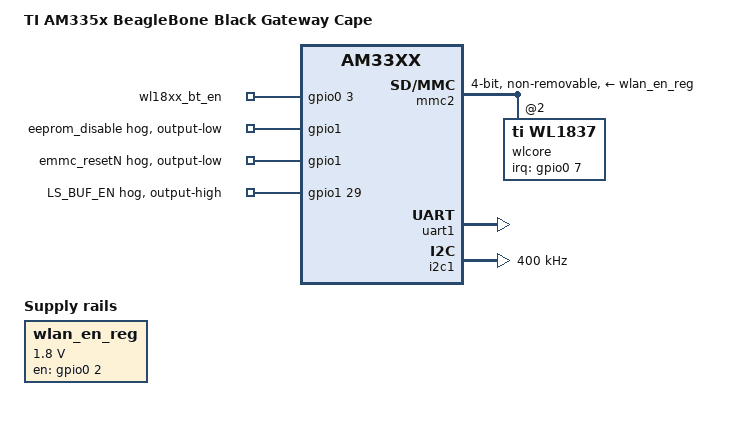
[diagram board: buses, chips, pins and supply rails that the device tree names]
/*
 * Copyright (C) 2012 Texas Instruments Incorporated - http://www.ti.com/
 *
 * This program is free software; you can redistribute it and/or modify
 * it under the terms of the GNU General Public License version 2 as
 * published by the Free Software Foundation.
 */
/dts-v1/;
/plugin/;

#include <dt-bindings/gpio/gpio.h>
#include <dt-bindings/pinctrl/am33xx.h>
#include <dt-bindings/interrupt-controller/irq.h>

/ {
	compatible = "ti,beaglebone", "ti,beaglebone-black";

	/* identification */
	part-number = "BB-GATEWAY-WL1837";
	version = "00A0";

	/* state the resources this cape uses */
	exclusive-use =
		/* the pin header uses */
		"P8.25",	/* sdio: data0 */
		"P8.24",	/* sdio: data1 */
		"P8.5",		/* sdio: data2 */
		"P8.6",		/* sdio: data3 */
		"P8.21",	/* sdio: clk */
		"P8.20",	/* sdio: cmd */
		"P9.19",	/* uart1: rtsn */
		"P9.20",	/* uart1: ctsn */
		"P9.26",	/* uart1: rxd */
		"P9.24",	/* uart1: txd */
		"P9.17",	/* i2c1 */
		"P9.18",	/* i2c1 */

		"gpio0_2",	/* WL_EN */
		"gpio0_7",	/* WL_IRQ */
		"gpio0_3",	/* BT_EN */
		"gpio1_29",	/* BUF_ENABLE */
		"gpio2_2", 	/* Audio_sync */
		"gpio1_20",	/* EMMC ResetN */
		"gpio1_16",	/* EEPROM Enable */

		/* the hardware ip uses */
		"mmc2",
		"uart1",
		"i2c1";

	fragment@0 {
		target-path="/";
		__overlay__ {
			model = "TI AM335x BeagleBone Black Gateway Cape";
			compatible = "ti,am335x-bone-black", "ti,am335x-bone", "ti,am33xx";

			wlan_en_reg: fixedregulator@2 {
				compatible = "regulator-fixed";
				regulator-name = "wlan-en-regulator";
				regulator-min-microvolt = <1800000>;
				regulator-max-microvolt = <1800000>;
				startup-delay-us= <70000>;

				/* WL_EN */
				gpio = <&gpio0 2 0>;
				enable-active-high;
			};

			leds {
				pinctrl-names = "default";
				pinctrl-0 = <&wl18xx_pins>;
				compatible = "gpio-leds";

				wl18xx_bt_en {
					label = "wl18xx_bt_en";
					gpios = <&gpio0 3 GPIO_ACTIVE_HIGH>;
					default-state = "off";
				};
			};
		};
	};

	fragment@1 {
		target = <&am33xx_pinmux>;
		__overlay__ {
			wl18xx_pins: pinmux_wl18xx_pins {
				pinctrl-single,pins = <
					AM33XX_IOPAD(0x954, PIN_OUTPUT_PULLUP | MUX_MODE7)	/* gpio0_3 BT_EN */
				>;
			};

			wlbtbuf_pin: pinmux_wlbtbuf_pin {
				pinctrl-single,pins = <
					AM33XX_IOPAD(0x87C, PIN_OUTPUT_PULLUP | MUX_MODE7)	/* gpmc_csn0.gpio1_29 LS_BUF_EN */
				>;
			};

			btbuf_pin: pinmux_btbuf_pin {
				pinctrl-single,pins = <
					AM33XX_IOPAD(0x840, PIN_OUTPUT_PULLDOWN | MUX_MODE7)	/* EEPROM Disable */
				>;
			};

			mmc2_pins: pinmux_mmc2_pins {
				pinctrl-single,pins = <
					AM33XX_IOPAD(0x880, PIN_INPUT_PULLUP | MUX_MODE2) /* gpmc_csn1.mmc1_clk */
					AM33XX_IOPAD(0x884, PIN_INPUT_PULLUP | MUX_MODE2) /* gpmc_csn2.mmc1_cmd */
					AM33XX_IOPAD(0x800, PIN_INPUT_PULLUP | MUX_MODE1) /* gpmc_ad0.mmc1_dat0 */
					AM33XX_IOPAD(0x804, PIN_INPUT_PULLUP | MUX_MODE1) /* gpmc_ad1.mmc1_dat1 */
					AM33XX_IOPAD(0x808, PIN_INPUT_PULLUP | MUX_MODE1) /* gpmc_ad2.mmc1_dat2 */
					AM33XX_IOPAD(0x80c, PIN_INPUT_PULLUP | MUX_MODE1) /* gpmc_ad3.mmc1_dat3 */
				>;
			};

			mmc2_pins_sleep: pinmux_mmc2_pins_sleep {
				pinctrl-single,pins = <
					AM33XX_IOPAD(0x880, PIN_INPUT_PULLDOWN | MUX_MODE2) /* gpmc_csn1.mmc1_clk */
					AM33XX_IOPAD(0x884, PIN_INPUT_PULLDOWN | MUX_MODE2) /* gpmc_csn2.mmc1_cmd */
					AM33XX_IOPAD(0x800, PIN_INPUT_PULLDOWN | MUX_MODE1) /* gpmc_ad0.mmc1_dat0 */
					AM33XX_IOPAD(0x804, PIN_INPUT_PULLDOWN | MUX_MODE1) /* gpmc_ad1.mmc1_dat1 */
					AM33XX_IOPAD(0x808, PIN_INPUT_PULLDOWN | MUX_MODE1) /* gpmc_ad2.mmc1_dat2 */
					AM33XX_IOPAD(0x80c, PIN_INPUT_PULLDOWN | MUX_MODE1) /* gpmc_ad3.mmc1_dat3 */
				>;
			};

			/* wl18xx card enable/irq GPIOs. */
			wlan_pins: pinmux_wlan_pins {
				pinctrl-single,pins = <
					AM33XX_IOPAD(0x814, PIN_OUTPUT_PULLUP | MUX_MODE7)	/* gpio0_2 WL_EN */
					AM33XX_IOPAD(0x964, PIN_INPUT_PULLUP | MUX_MODE7)	/* gpio0_7 WL_IRQ */
					AM33XX_IOPAD(0x890, PIN_OUTPUT_PULLDOWN | MUX_MODE7)	/* gpmc_advn_ale.gpio2_2 Audio_sync */
				>;
			};

			/* wl18xx card enable/irq GPIOs. */
			wlan_pins_sleep: pinmux_wlan_pins_sleep {
				pinctrl-single,pins = <
					AM33XX_IOPAD(0x814, PIN_OUTPUT_PULLUP | MUX_MODE7)	/* gpio0_2 WL_EN */
					AM33XX_IOPAD(0x964, PIN_INPUT_PULLUP | MUX_MODE7)	/* gpio0_7 WL_IRQ */
					AM33XX_IOPAD(0x890, PIN_OUTPUT_PULLDOWN | MUX_MODE7)	/* gpmc_advn_ale.gpio2_2 Audio_sync */
				>;
			};

			uart1_pins_default: pinmux_uart1_pins_default {
				pinctrl-single,pins = <
					AM33XX_IOPAD(0x980, PIN_INPUT_PULLUP | MUX_MODE0)	/* (D16) uart1_rxd.uart1_rxd */
					AM33XX_IOPAD(0x984, PIN_OUTPUT_PULLDOWN | MUX_MODE0)	/* (D15) uart1_txd.uart1_txd */
					AM33XX_IOPAD(0x978, PIN_INPUT | MUX_MODE0)		/* (D18) uart1_ctsn.uart1_ctsn */
					AM33XX_IOPAD(0x97c, PIN_OUTPUT_PULLDOWN | MUX_MODE0)	/* (D17) uart1_rtsn.uart1_rtsn */
				>;
			};

			uart1_pins_sleep: pinmux_uart1_pins_sleep {
				pinctrl-single,pins = <
					AM33XX_IOPAD(0x980, PIN_INPUT_PULLDOWN | MUX_MODE7)	/* (D16) uart1_rxd.uart1_rxd */
					AM33XX_IOPAD(0x984, PIN_INPUT_PULLDOWN | MUX_MODE7)	/* (D15) uart1_txd.uart1_txd */
					AM33XX_IOPAD(0x978, PIN_INPUT_PULLDOWN | MUX_MODE7)	/* (D18) uart1_ctsn.uart1_ctsn */
					AM33XX_IOPAD(0x97c, PIN_INPUT_PULLDOWN | MUX_MODE7)	/* (D17) uart1_rtsn.uart1_rtsn */
				>;
			};

			bb_i2c1_pins: pinmux_bb_i2c1_pins {
				pinctrl-single,pins = <
					AM33XX_IOPAD(0x95c, PIN_INPUT_PULLUP | MUX_MODE2)	/* i2c1 */
					AM33XX_IOPAD(0x958, PIN_INPUT_PULLUP | MUX_MODE2)	/* i2c1 */
				>;
			};
		};
	};

	fragment@2 {
		target = <&i2c2>;
		__overlay__ {
			status = "disabled";
		};
	};

	fragment@3 {
		target = <&mmc2>;
		__overlay__ {
			status = "okay";
			vmmc-supply = <&wlan_en_reg>;
			bus-width = <4>;
			non-removable;
			cap-power-off-card;
			ti,needs-special-hs-handling;
			keep-power-in-suspend;
			pinctrl-names = "default", "sleep";
			pinctrl-0 = <&mmc2_pins &wlan_pins &wlbtbuf_pin>;
			pinctrl-1 = <&mmc2_pins_sleep &wlan_pins_sleep &wlbtbuf_pin>;

			#address-cells = <1>;
			#size-cells = <0>;
			wlcore: wlcore@2 {
				compatible = "ti,wl1837";
				reg = <2>;
				interrupt-parent = <&gpio0>;
				interrupts = <7 IRQ_TYPE_EDGE_RISING>;
			};
		};
	};

	fragment@4 {
		target = <&uart1>;
		__overlay__ {
			pinctrl-names = "default", "sleep";
			pinctrl-0 = <&uart1_pins_default &btbuf_pin>;
			pinctrl-1 = <&uart1_pins_sleep &btbuf_pin>;
			status = "okay";
		};
	};

	fragment@5 {
		target = <&gpio1>;
		__overlay__ {
			eeprom_disable {
				gpio-hog;
				gpio = <16 GPIO_ACTIVE_LOW>;
				output-low;
				line-name = "eeprom_disable";
			};
			emmc_rst {
				gpio-hog;
				gpio = <20 GPIO_ACTIVE_LOW>;
				output-low;
				line-name = "emmc_resetN";
			};
			ls_buf_en {
				gpio-hog;
				gpios = <29 GPIO_ACTIVE_HIGH>;
				output-high;
				line-name = "LS_BUF_EN";
			};
		};
	};

	fragment@6 {
		target = <&i2c1>;
		__overlay__ {
			pinctrl-names = "default";
			pinctrl-0 = <&bb_i2c1_pins>;
			status = "okay";
			clock-frequency = <400000>;
		};
	};
};
